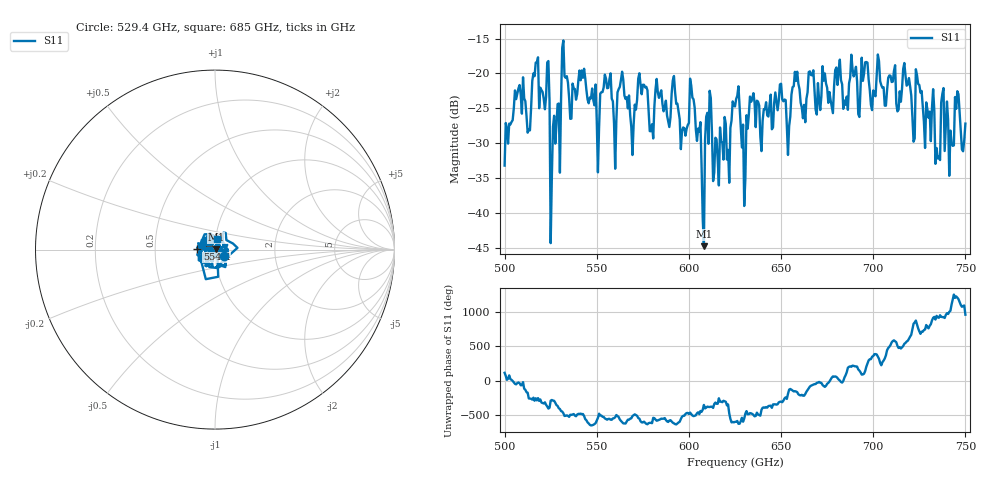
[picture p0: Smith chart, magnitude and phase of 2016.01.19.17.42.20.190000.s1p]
!Created with skrf (http://scikit-rf.org).
# GHz S RI R 50.0
!freq ReS11 ImS11
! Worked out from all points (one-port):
!   401 points, 500 GHz to 750 GHz, reference 50 ohm
!   lowest |S11| = -44.8 dB at 608.1 GHz (marker M1), VSWR 1.01, Z = 50.6 + j0.124 ohm
!   |S11| at or under -10 dB: start of sweep to end of sweep
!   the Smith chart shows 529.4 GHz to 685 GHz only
!   S11 on the Smith chart (normalised r, x): 529.4 GHz: 1.10, -0.08; 554.4 GHz: 0.82, +0.01; 685 GHz: 1.01, +0.12
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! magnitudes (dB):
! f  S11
! 500 GHz  -33.2
! 506.9 GHz  -22.9
! 513.1 GHz  -28.1
! 516.9 GHz  -18.4
! 523.1 GHz  -18.4
! 526.2 GHz  -27.6
! 529.4 GHz  -24.3
! 531.2 GHz  -16.3
! 550 GHz  -26.8
! 554.4 GHz  -20.2
! 559.4 GHz  -27.2
! 562.5 GHz  -21.9
! 569.4 GHz  -31.7
! 593.8 GHz  -24.3
! 601.9 GHz  -23.5
! 608.1 GHz  -44.8
! 610.6 GHz  -30.1
! 615 GHz  -29.5
! 625 GHz  -24.7
! 629.4 GHz  -27.3
! 634.4 GHz  -23.6
! 656.2 GHz  -22.0
! 685 GHz  -24.5
! 687.5 GHz  -20.6
! 718.8 GHz  -21.6
! 735 GHz  -32.2
! 738.1 GHz  -22.1
! 750 GHz  -27.2
